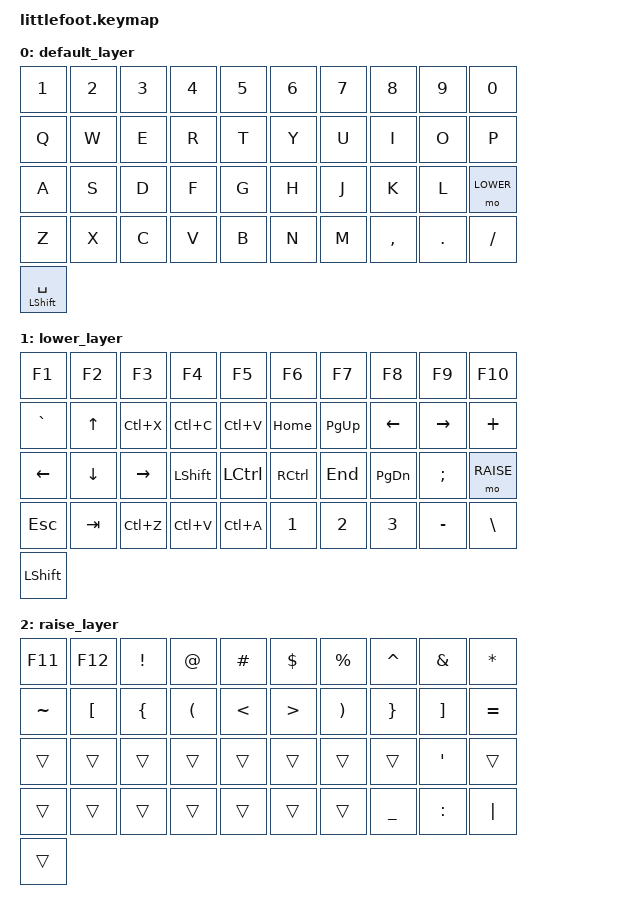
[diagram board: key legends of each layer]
#include <behaviors.dtsi>
#include <dt-bindings/zmk/keys.h>

#define LOWER 1
#define RAISE 2

/ {
	keymap {
		compatible = "zmk,keymap";

		default_layer {
			bindings = <
				&kp N1 &kp N2 &kp N3 &kp N4 &kp N5 &kp N6 &kp N7 &kp N8 &kp N9 &kp N0
				&kp Q  &kp W  &kp E  &kp R  &kp T  &kp Y  &kp U  &kp I  &kp O  &kp P
				&kp A  &kp S  &kp D  &kp F  &kp G  &kp H  &kp J  &kp K  &kp L  &mo LOWER
				&kp Z  &kp X  &kp C  &kp V  &kp B  &kp N  &kp M  &kp COMMA &kp DOT &kp SLASH
				&mt LSHFT SPACE
			>;
		};

		lower_layer {
			bindings = <
				&kp F1 &kp F2 &kp F3 &kp F4 &kp F5 &kp F6 &kp F7 &kp F8 &kp F9 &kp F10
				&kp GRAVE &kp UP &kp LC(X) &kp LC(C) &kp LC(V) &kp HOME &kp PG_UP &kp LEFT &kp RIGHT &kp PLUS
				&kp LEFT &kp DOWN &kp RIGHT &kp LSHFT &kp LCTRL &kp RCTRL &kp END &kp PG_DN &kp SEMI &mo RAISE
				&kp ESC &kp TAB &kp LC(Z) &kp LC(V) &kp LC(A) &kp N1 &kp N2 &kp N3 &kp MINUS &kp BSLH
				&kp LSHFT
			>;
		};

		raise_layer {
			bindings = <
				&kp F11 &kp F12 &kp EXCL &kp AT &kp HASH &kp DLLR &kp PRCNT &kp CARET &kp AMPS &kp ASTRK
				&kp TILDE &kp LBKT &kp LBRC &kp LPAR &kp LT &kp GT &kp RPAR &kp RBRC &kp RBKT &kp EQUAL
				&trans &trans &trans &trans &trans &trans &trans &trans &kp SQT &trans
				&trans &trans &trans &trans &trans &trans &trans &kp UNDER &kp COLON &kp PIPE
				&trans
			>;
		};
	};
};
